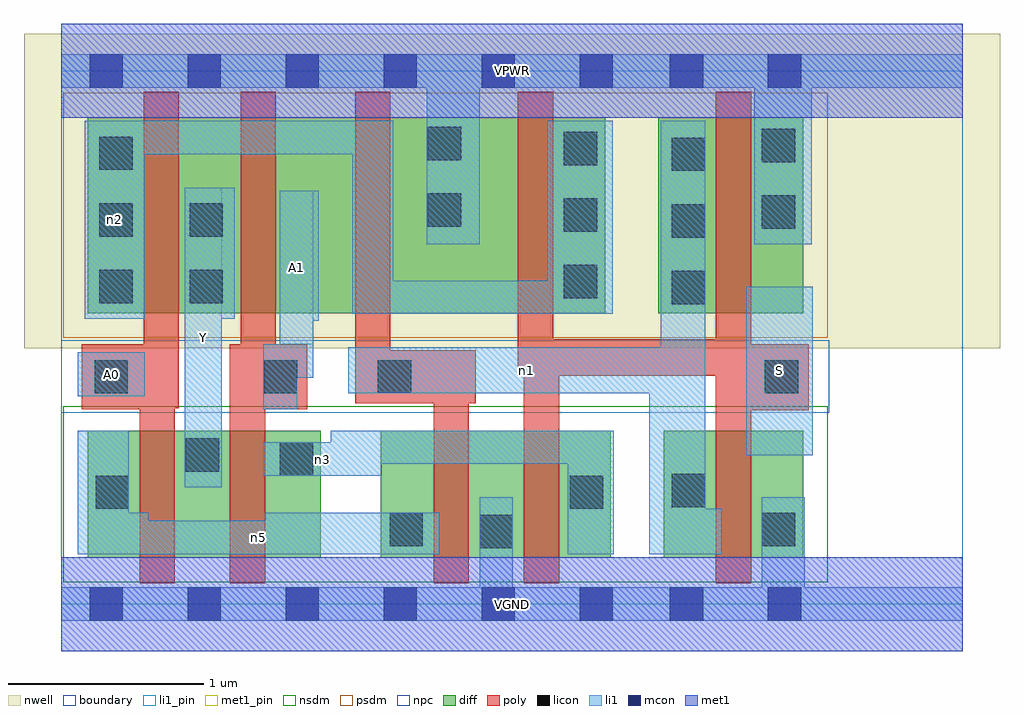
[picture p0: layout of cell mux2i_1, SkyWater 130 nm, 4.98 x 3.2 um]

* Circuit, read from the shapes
.subckt mux2i_1 A0 A1 S VGND VPWR Y n1 n2 n3 n5
XM1 Y A0 n5 VSUBS sky130_fd_pr__nfet_01v8 w=0.65 l=0.18
XM2 n3 A1 Y VSUBS sky130_fd_pr__nfet_01v8 w=0.65 l=0.18
XM3 VGND n1 n5 VSUBS sky130_fd_pr__nfet_01v8 w=0.65 l=0.18
XM4 n3 S VGND VSUBS sky130_fd_pr__nfet_01v8 w=0.65 l=0.18
XM5 VGND S n1 VSUBS sky130_fd_pr__nfet_01v8 w=0.65 l=0.18
XM6 Y A0 n2 n4 sky130_fd_pr__pfet_01v8 w=1 l=0.18
XM7 n6 A1 Y n4 sky130_fd_pr__pfet_01v8 w=1 l=0.18
XM8 VPWR n1 n6 n4 sky130_fd_pr__pfet_01v8 w=1 l=0.18
XM9 n2 S VPWR n4 sky130_fd_pr__pfet_01v8 w=1 l=0.18
XM10 VPWR S n1 n4 sky130_fd_pr__pfet_01v8 w=1 l=0.18
.ends

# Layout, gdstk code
import gdstk
lib = gdstk.Library(unit=1e-6, precision=1e-09)
def R(c, l, rs):  # rectangles x0, y0, x1, y1
    for r in rs: c.add(gdstk.rectangle(r[:2], r[2:], *l))
def A(c, l, x, y, w, h, nx, ny, dx, dy):  # array of equal rectangles
    R(c, l, [(x+i*dx, y+j*dy, x+i*dx+w, y+j*dy+h) for i in range(nx) for j in range(ny)])
nwell = (64, 20)
diff = (65, 20)
poly = (66, 20)
licon = (66, 44)
li1_pin = (67, 16)
li1 = (67, 20)
mcon = (67, 44)
met1_pin = (68, 16)
met1 = (68, 20)
nsdm = (93, 44)
psdm = (94, 20)
npc = (95, 20)
boundary = (235, 4)

mux2i_1 = lib.new_cell('mux2i_1')
R(mux2i_1, nwell, [(-0.19,1.305,4.79,2.91), (0,1.305,4.6,2.91)])
R(mux2i_1, diff, [(0.135,0.235,1.325,0.885), (1.63,0.235,2.805,0.885), (3.075,0.235,3.785,0.885), (0.135,1.485,2.775,2.485), (3.045,1.485,3.785,2.485)])
R(mux2i_1, poly, [(0.4,0.105,0.58,1.325), (0.86,0.105,1.04,1.325), (1.9,0.105,2.08,1.295), (2.36,0.105,2.54,1.35), (3.34,0.105,3.52,2.615), (3.34,0.99,3.815,1.325), (0.105,0.995,0.58,1.325), (0.86,0.995,1.255,1.325), (0.915,0.995,1.095,2.615), (0.42,1,0.6,2.615), (1.5,1.025,1.68,2.615), (1.5,1.025,2.115,1.295), (2.33,1.165,2.51,2.615), (2.33,1.165,3.52,1.35)])
A(mux2i_1, licon, 3.115, 1.53, 0.17, 0.17, 1, 3, 0, 0.34)
A(mux2i_1, licon, 0.195, 1.535, 0.17, 0.17, 1, 3, 0, 0.34)
A(mux2i_1, licon, 2.565, 1.56, 0.17, 0.17, 1, 3, 0, 0.34)
R(mux2i_1, licon, [(2.135,0.285,2.305,0.455), (1.675,0.295,1.845,0.465), (3.575,0.295,3.745,0.465), (0.175,0.485,0.345,0.655), (2.595,0.485,2.765,0.655), (3.115,0.495,3.285,0.665), (1.115,0.655,1.285,0.825), (0.635,0.675,0.805,0.845), (0.17,1.075,0.34,1.245), (1.035,1.075,1.205,1.245), (1.615,1.075,1.785,1.245), (3.59,1.075,3.76,1.245), (0.655,1.535,0.825,1.705), (0.655,1.875,0.825,2.045), (3.575,1.915,3.745,2.085), (1.87,1.925,2.04,2.095), (3.575,2.255,3.745,2.425), (1.87,2.265,2.04,2.435)])
R(mux2i_1, li1_pin, [(0.63,0.595,0.82,2.125), (3.495,0.76,3.835,1.62), (0.085,1.06,0.425,1.285), (1.115,1.325,1.285,2.11)])
R(mux2i_1, li1, [(0,-0.085,4.6,0.085), (2.135,-0.085,2.305,0.545), (3.575,-0.085,3.795,0.545), (0.085,0.255,1.93,0.425), (0.085,0.255,0.345,0.885), (0.085,0.255,0.445,0.465), (1.04,0.255,1.93,0.465), (2.585,0.255,2.82,0.885), (3,0.255,3.285,1.31), (3,0.255,3.37,0.485), (3.06,0.255,3.285,2.465), (0.63,0.595,0.82,2.125), (1.03,0.655,1.635,0.825), (1.375,0.715,2.585,0.885), (3.495,0.76,3.835,1.62), (1.03,0.995,1.205,1.325), (0.085,1.06,0.425,1.285), (1.465,1.075,3.285,1.31), (1.205,1.155,1.285,2.11), (1.115,1.325,1.285,2.11), (1.115,1.445,1.315,2.11), (0.12,1.455,0.425,2.465), (0.63,1.455,0.885,2.125), (1.485,1.48,2.815,1.65), (1.485,1.48,1.695,2.465), (2.48,1.48,2.815,2.465), (1.865,1.835,2.135,2.805), (3.535,1.835,3.83,2.805), (0.12,2.295,1.695,2.465), (0,2.635,4.6,2.805)])
A(mux2i_1, mcon, 0.145, -0.085, 0.17, 0.17, 6, 2, 0.5, 2.72)
R(mux2i_1, mcon, [(3.105,-0.085,3.275,0.085), (3.605,-0.085,3.775,0.085), (3.105,2.635,3.275,2.805), (3.605,2.635,3.775,2.805)])
R(mux2i_1, met1_pin, [(0,-0.24,4.6,0.24), (0,2.48,4.6,2.96)])
R(mux2i_1, met1, [(0,-0.24,4.6,0.24), (0,2.48,4.6,2.96)])
R(mux2i_1, nsdm, [(0.01,0.11,3.91,1.01)])
R(mux2i_1, psdm, [(0.01,1.36,3.91,2.61)])
R(mux2i_1, npc, [(0,0.975,3.92,1.345)])
R(mux2i_1, boundary, [(0,0,4.6,2.72)])
mux2i_1.add(gdstk.Label('A0', (0.255,1.172), layer=67, texttype=5))
mux2i_1.add(gdstk.Label('A1', (1.2,1.717), layer=67, texttype=5))
mux2i_1.add(gdstk.Label('S', (3.665,1.19), layer=67, texttype=5))
mux2i_1.add(gdstk.Label('Y', (0.725,1.36), layer=67, texttype=5))
mux2i_1.add(gdstk.Label('n5', (1.007,0.34), layer=67, texttype=5))
mux2i_1.add(gdstk.Label('n3', (1.332,0.74), layer=67, texttype=5))
mux2i_1.add(gdstk.Label('n2', (0.272,1.96), layer=67, texttype=5))
mux2i_1.add(gdstk.Label('n1', (2.375,1.192), layer=67, texttype=5))
mux2i_1.add(gdstk.Label('VPWR', (2.3,2.72), layer=68, texttype=5))
mux2i_1.add(gdstk.Label('VGND', (2.3,0), layer=68, texttype=5))
mux2i_1.add(gdstk.Label('A0', (0.255,1.172), layer=67, texttype=16))
mux2i_1.add(gdstk.Label('A1', (1.2,1.717), layer=67, texttype=16))
mux2i_1.add(gdstk.Label('S', (3.665,1.19), layer=67, texttype=16))
mux2i_1.add(gdstk.Label('Y', (0.725,1.36), layer=67, texttype=16))
mux2i_1.add(gdstk.Label('VPWR', (2.3,2.72), layer=68, texttype=16))
mux2i_1.add(gdstk.Label('VGND', (2.3,0), layer=68, texttype=16))

lib.write_gds('mux2i_1.gds')
